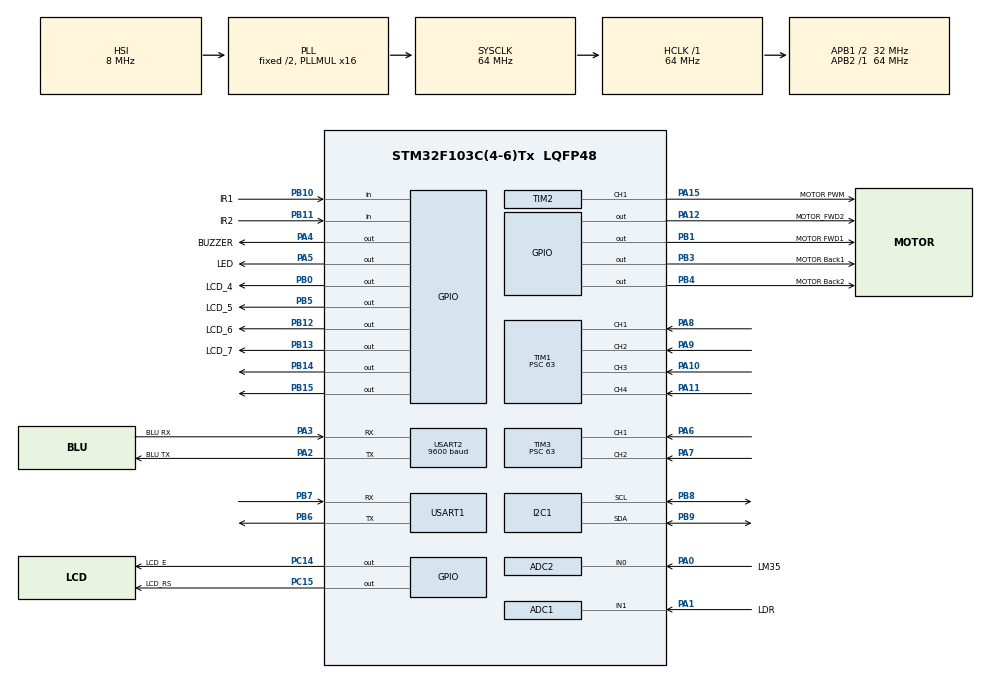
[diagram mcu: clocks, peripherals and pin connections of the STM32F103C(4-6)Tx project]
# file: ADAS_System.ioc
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ADC1.Channel-0\#ChannelRegularConversion=ADC_CHANNEL_1
ADC1.NbrOfConversionFlag=1
ADC1.Rank-0\#ChannelRegularConversion=1
ADC1.SamplingTime-0\#ChannelRegularConversion=ADC_SAMPLETIME_1CYCLE_5
ADC1.master=1
ADC2.Channel-0\#ChannelRegularConversion=ADC_CHANNEL_0
ADC2.NbrOfConversionFlag=1
ADC2.Rank-0\#ChannelRegularConversion=1
ADC2.SamplingTime-0\#ChannelRegularConversion=ADC_SAMPLETIME_1CYCLE_5
FREERTOS.Tasks01=defaultTask,0,128,StartDefaultTask,Default,NULL,Dynamic,NULL,NULL
I2C1.I2C_Mode=I2C_Fast
Mcu.Family=STM32F1
Mcu.Name=STM32F103C(4-6)Tx
Mcu.Package=LQFP48
NVIC.PriorityGroup=NVIC_PRIORITYGROUP_4
NVIC.TIM1_CC_IRQn=true\:5\:0\:false\:false\:true\:true\:true\:true\:true
NVIC.TIM3_IRQn=true\:5\:0\:false\:false\:true\:true\:true\:true\:true
NVIC.USART2_IRQn=true\:5\:0\:false\:false\:true\:true\:true\:true\:true
PA0-WKUP.GPIO_Label=LM35
PA0-WKUP.Signal=ADCx_IN0
PA1.GPIO_Label=LDR
PA1.Signal=ADCx_IN1
PA10.GPIO_PuPd=GPIO_PULLDOWN
PA10.Signal=S_TIM1_CH3
PA11.GPIO_PuPd=GPIO_PULLDOWN
PA11.Signal=S_TIM1_CH4
PA12.GPIO_Label=MOTOR_FWD2
PA12.Signal=GPIO_Output
PA13.Mode=Serial_Wire
PA13.Signal=SYS_JTMS-SWDIO
PA14.Mode=Serial_Wire
PA14.Signal=SYS_JTCK-SWCLK
PA15.GPIO_Label=MOTOR PWM
PA15.Signal=S_TIM2_CH1_ETR
PA2.GPIO_Label=BLU TX
PA2.Mode=Asynchronous
PA2.Signal=USART2_TX
PA3.GPIO_Label=BLU RX
PA3.Mode=Asynchronous
PA3.Signal=USART2_RX
PA4.GPIO_Label=BUZZER
PA4.Signal=GPIO_Output
PA5.GPIO_Label=LED
PA5.Signal=GPIO_Output
PA6.GPIO_PuPd=GPIO_PULLDOWN
PA6.Signal=S_TIM3_CH1
PA7.GPIO_PuPd=GPIO_PULLDOWN
PA7.Signal=S_TIM3_CH2
PA8.GPIO_PuPd=GPIO_PULLDOWN
PA8.Signal=S_TIM1_CH1
PA9.GPIO_PuPd=GPIO_PULLDOWN
PA9.Signal=S_TIM1_CH2
PB0.GPIO_Label=LCD_4
PB0.Signal=GPIO_Output
PB1.GPIO_Label=MOTOR FWD1
PB1.Signal=GPIO_Output
PB10.GPIO_Label=IR1
PB10.GPIO_PuPd=GPIO_PULLDOWN
PB10.Signal=GPIO_Input
PB11.GPIO_Label=IR2
PB11.GPIO_PuPd=GPIO_PULLDOWN
PB11.Signal=GPIO_Input
PB12.GPIO_Label=LCD_6
PB12.Signal=GPIO_Output
PB13.GPIO_Label=LCD_7
PB13.Signal=GPIO_Output
PB14.GPIO_PuPd=GPIO_PULLDOWN
PB14.Signal=GPIO_Output
PB15.GPIO_PuPd=GPIO_PULLDOWN
PB15.Signal=GPIO_Output
PB3.GPIO_Label=MOTOR Back1
PB3.Signal=GPIO_Output
PB4.GPIO_Label=MOTOR Back2
PB4.Signal=GPIO_Output
PB5.GPIO_Label=LCD_5
PB5.Signal=GPIO_Output
PB6.Mode=Asynchronous
PB6.Signal=USART1_TX
PB7.Mode=Asynchronous
PB7.Signal=USART1_RX
PB8.Mode=I2C
PB8.Signal=I2C1_SCL
PB9.Mode=I2C
PB9.Signal=I2C1_SDA
PC14-OSC32_IN.GPIO_Label=LCD_E
PC14-OSC32_IN.Signal=GPIO_Output
PC15-OSC32_OUT.GPIO_Label=LCD_RS
PC15-OSC32_OUT.Signal=GPIO_Output
PD0-OSC_IN.Mode=HSE-External-Clock-Source
PD0-OSC_IN.Signal=RCC_OSC_IN
PD1-OSC_OUT.Mode=HSE-External-Clock-Source
PD1-OSC_OUT.Signal=RCC_OSC_OUT
ProjectManager.HeapSize=0x200
ProjectManager.StackSize=0x400
ProjectManager.TargetToolchain=STM32CubeIDE
RCC.ADCPresc=RCC_ADCPCLK2_DIV6
RCC.AHBFreq_Value=64000000
RCC.APB1CLKDivider=RCC_HCLK_DIV2
RCC.APB1Freq_Value=32000000
RCC.APB1TimFreq_Value=64000000
RCC.APB2Freq_Value=64000000
RCC.APB2TimFreq_Value=64000000
RCC.HCLKFreq_Value=64000000
RCC.PLLMUL=RCC_PLL_MUL16
RCC.SYSCLKFreq_VALUE=64000000
RCC.SYSCLKSource=RCC_SYSCLKSOURCE_PLLCLK
RCC.USBFreq_Value=64000000
SH.ADCx_IN0.0=ADC2_IN0,IN0
SH.ADCx_IN1.0=ADC1_IN1,IN1
SH.S_TIM1_CH1.0=TIM1_CH1,Input_Capture1_from_TI1
SH.S_TIM1_CH2.0=TIM1_CH2,Input_Capture2_from_TI2
SH.S_TIM1_CH3.0=TIM1_CH3,Input_Capture3_from_TI3
SH.S_TIM1_CH4.0=TIM1_CH4,Input_Capture4_from_TI4
SH.S_TIM2_CH1_ETR.0=TIM2_CH1,PWM Generation1 CH1
SH.S_TIM3_CH1.0=TIM3_CH1,Input_Capture1_from_TI1
SH.S_TIM3_CH2.0=TIM3_CH2,Input_Capture2_from_TI2
TIM1.Channel-Input_Capture1_from_TI1=TIM_CHANNEL_1
TIM1.Channel-Input_Capture2_from_TI2=TIM_CHANNEL_2
TIM1.Channel-Input_Capture3_from_TI3=TIM_CHANNEL_3
TIM1.Channel-Input_Capture4_from_TI4=TIM_CHANNEL_4
TIM1.Prescaler=63
TIM2.Channel-PWM\ Generation1\ CH1=TIM_CHANNEL_1
TIM2.Period=100
TIM2.Prescaler=64
TIM3.Channel-Input_Capture1_from_TI1=TIM_CHANNEL_1
TIM3.Channel-Input_Capture2_from_TI2=TIM_CHANNEL_2
TIM3.Prescaler=63
USART1.VirtualMode=VM_ASYNC
USART2.BaudRate=9600
USART2.VirtualMode=VM_ASYNC
VP_FREERTOS_VS_CMSIS_V1.Mode=CMSIS_V1
VP_TIM1_VS_ClockSourceINT.Mode=Internal
VP_TIM2_VS_ClockSourceINT.Mode=Internal
VP_TIM3_VS_ClockSourceINT.Mode=Internal
board=custom

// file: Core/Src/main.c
/* USER CODE BEGIN Header */
/**
 ******************************************************************************
 * @file           : main.c
 * @brief          : Main program body
 ******************************************************************************
 * @attention
 *
 * Copyright (c) 2024 STMicroelectronics.
 * All rights reserved.
 *
 * This software is licensed under terms that can be found in the LICENSE file
 * in the root directory of this software component.
 * If no LICENSE file comes with this software, it is provided AS-IS.
 *
 ******************************************************************************
 */
/* USER CODE END Header */
#include "main.h"
#include "cmsis_os.h"
#include "adc.h"
#include "i2c.h"
#include "tim.h"
#include "usart.h"
#include "gpio.h"
#include <string.h>
/* USER CODE BEGIN Includes */
#include "BLU.h"
#include "DC_Motor.h"
#include "UltraSonic_interface_.h"
#include "BUZZER_interface.h"
#include "LM35.h"
#include "LDR.h"
#include "LED_interface.h"
#include "Line_Detector.h"
#include "mpu6050.h"
#include "LCD_interface.h"

/* USER CODE END Includes */

/* USER CODE BEGIN PD */
#define MOTOR_MAX_SPEED 100
#define MOTOR_MIN_SPEED 0
#define ENGINE_ON       1
#define ENGINE_OFF      0
#define MOTOR_FWD		0
#define MOTOR_BACK		1
#define MANUAL_CONTROL	0
#define AUTO_CONTROL	1

typedef struct
{
	float Distance_left_front;
	float Distance_front;
	float Distance_right_front;
	float Distance_left_back;
	float Distance_right_back;
	float Distance_back;
	float temprature;
	uint16_t LDR_Read;
	uint8_t IR_Left;
	uint8_t IR_Right;
	MPU6050_t Mpu6050;
}SensorsData_t;

SensorsData_t DataAcquistion;
/* USER CODE END PD */

void SystemClock_Config(void);
void MX_FREERTOS_Init(void);

/* USER CODE BEGIN 0 */
void BLE_Read_Task    			(void  * argument);
void Data_Acq_Task				(void  * argument);
void Action_Task      			(void  * argument);
void Display_Task     			(void  * argument);
//void Emergency_Task				(void  * argument);
void Autonomous_Task			(void  * argument);
void Auto_Motion_Task			(void  * argument);

EventGroupHandle_t EG_Action = NULL;
EventBits_t        EG_Value  = 0;

EventGroupHandle_t EG_Autonomous = NULL;
EventBits_t        EG_State  = 0;

#define EG_ENGINE_START    	(1<<0)
#define EG_ENGINE_STOP     	(1<<1)
#define EG_SPEED_UP        	(1<<2)
#define EG_SPEED_DOWN      	(1<<3)
#define EG_CAR_FWD			(1<<4)
#define EG_CAR_BACK			(1<<5)
#define EG_CAR_RIGHT		(1<<6)
#define EG_CAR_LEFT			(1<<7)

#define EG_STATE_Manual		(1<<0)
#define EG_STATE_ACC		(1<<1)
#define EG_STATE_AP			(1<<2)
#define EG_STATE_OBD		(1<<3)
#define EG_STATE_LKA		(1<<4)

volatile uint8_t Duty = 0;
volatile uint8_t ACC_State = 0;
volatile uint8_t ACC_Enabled = 0;
volatile uint8_t User_Control = 0;
volatile uint8_t Engine_State = 0;
volatile uint8_t Car_State = 0;
volatile uint8_t Car_Direction = 0;
uint8_t Counter = 0;
volatile uint8_t u8DutyFlag = 0;
volatile uint8_t u8LCDFlagInit = 0;
uint8_t u8CLRState = 0;
volatile uint8_t AP_State = 0;
volatile uint8_t OBD_State = 0;
volatile uint8_t LKA_State = 0;
volatile uint8_t Autoparking_VehicleSpeed = 20;
/* USER CODE END 0 */

int main(void)
{

  /* MCU Configuration--------------------------------------------------------*/

  /* Reset of all peripherals, Initializes the Flash interface and the Systick. */
  HAL_Init();

  /* Configure the system clock */
  SystemClock_Config();

  /* Initialize all configured peripherals */
  MX_GPIO_Init();
  MX_ADC1_Init();
  MX_I2C1_Init();
  MX_TIM1_Init();
  MX_TIM2_Init();
  MX_TIM3_Init();
  MX_USART2_UART_Init();
  MX_ADC2_Init();
  MX_USART1_UART_Init();
  /* USER CODE BEGIN 2 */
  EG_Action = xEventGroupCreate();
  EG_Autonomous = xEventGroupCreate();

  xTaskCreate(BLE_Read_Task, NULL, 100 , NULL , 1 , NULL);
  xTaskCreate(Autonomous_Task, NULL, 50 , NULL , 4 , NULL);
  xTaskCreate(Auto_Motion_Task, NULL, 50, NULL, 5, NULL);
  xTaskCreate(Action_Task, NULL, 100 , NULL , 3 , NULL);
  xTaskCreate(Display_Task, NULL, 50 , NULL , 2 , NULL);
  xTaskCreate(Data_Acq_Task, NULL, 100 , NULL , 6 , NULL);
  //xTaskCreate(Emergency_Task, NULL, 100 , NULL , 6 , NULL);

  while (MPU6050_Init(&hi2c1) == 1);
  DC_voidInit();
  UltraSonic_INIT_TIMER1_ALL_CHANNEL();
  UltraSonic_INIT_TIMER3_Ch1_ch2();
  /* USER CODE END 2 */

  /* Call init function for freertos objects (in freertos.c) */
  MX_FREERTOS_Init();

  /* Start scheduler */
  osKernelStart();

  /* We should never get here as control is now taken by the scheduler */
  /* Infinite loop */
	while (1)
	{

	}
}

void SystemClock_Config(void)
{
  RCC_OscInitTypeDef RCC_OscInitStruct = {0};
  RCC_ClkInitTypeDef RCC_ClkInitStruct = {0};
  RCC_PeriphCLKInitTypeDef PeriphClkInit = {0};

  /** Initializes the RCC Oscillators according to the specified parameters
  * in the RCC_OscInitTypeDef structure.
  */
  RCC_OscInitStruct.OscillatorType = RCC_OSCILLATORTYPE_HSI;
  RCC_OscInitStruct.HSIState = RCC_HSI_ON;
  RCC_OscInitStruct.HSICalibrationValue = RCC_HSICALIBRATION_DEFAULT;
  RCC_OscInitStruct.PLL.PLLState = RCC_PLL_ON;
  RCC_OscInitStruct.PLL.PLLSource = RCC_PLLSOURCE_HSI_DIV2;
  RCC_OscInitStruct.PLL.PLLMUL = RCC_PLL_MUL16;
  if (HAL_RCC_OscConfig(&RCC_OscInitStruct) != HAL_OK)
  {
    Error_Handler();
  }

  /** Initializes the CPU, AHB and APB buses clocks
  */
  RCC_ClkInitStruct.ClockType = RCC_CLOCKTYPE_HCLK|RCC_CLOCKTYPE_SYSCLK
                              |RCC_CLOCKTYPE_PCLK1|RCC_CLOCKTYPE_PCLK2;
  RCC_ClkInitStruct.SYSCLKSource = RCC_SYSCLKSOURCE_PLLCLK;
  RCC_ClkInitStruct.AHBCLKDivider = RCC_SYSCLK_DIV1;
  RCC_ClkInitStruct.APB1CLKDivider = RCC_HCLK_DIV2;
  RCC_ClkInitStruct.APB2CLKDivider = RCC_HCLK_DIV1;

  if (HAL_RCC_ClockConfig(&RCC_ClkInitStruct, FLASH_LATENCY_2) != HAL_OK)
  {
    Error_Handler();
  }
  PeriphClkInit.PeriphClockSelection = RCC_PERIPHCLK_ADC;
  PeriphClkInit.AdcClockSelection = RCC_ADCPCLK2_DIV6;
  if (HAL_RCCEx_PeriphCLKConfig(&PeriphClkInit) != HAL_OK)
  {
    Error_Handler();
  }
}

/* USER CODE BEGIN 4 */
void Data_Acq_Task		(void  * argument)
{
	while(1)
	{
		// Read temperature from LM35 sensor
		DataAcquistion.temprature = LM35_fReadTemperature();

		// Read light intensity from LDR sensor
		DataAcquistion.LDR_Read = HAL_u8LDRRead();

		// Read IR sensor values for left and right directions
		LineDetector_voidRead(&(DataAcquistion.IR_Left), &(DataAcquistion.IR_Right));

		// Read distances from ultrasonic sensors
		UltraSonic_Get_Distance_TIMER1_ALL_CHANNEL(&(DataAcquistion.Distance_left_back), &(DataAcquistion.Distance_right_back), &(DataAcquistion.Distance_left_front), &(DataAcquistion.Distance_right_front));
		vTaskDelay(200);
		UltraSonic_Get_Distance_TIMER3_Ch1_ch2(&(DataAcquistion.Distance_back), &(DataAcquistion.Distance_front));

		MPU6050_Read_All(&hi2c1, &(DataAcquistion.Mpu6050));

		vTaskDelay(200);
	}
}

void Auto_Motion_Task			(void  * argument)
{
	while(1)
	{
		// blind spot
		if(DataAcquistion.Distance_left_back <= 5 || DataAcquistion.Distance_right_back <= 5)
		{
			LED_voidTurnOn(LED_Pin);
			BUZZER_voidTurnOn();
		}
		else
		{
			LED_voidTurnOff(LED_Pin);
			BUZZER_voidTurnOff();
		}

		//ACC
		if (ACC_State)
		{
			if(DataAcquistion.Distance_front <= 15.0 && DataAcquistion.Distance_front > 8.0)
			{
				Duty = 50;
				LED_voidToggle(LED_Pin);
				BUZZER_voidToggle();
				//DC_voidMoveForward(Duty);
			}
			else if(DataAcquistion.Distance_front <= 8.0)
			{
				Duty = MOTOR_MIN_SPEED;
				DC_voidStop();
				LED_voidToggle(LED_Pin);
				BUZZER_voidToggle();
				//DC_voidMoveForward(Duty);
			}
			else
			{
				Duty=65;
				if (Duty > MOTOR_MAX_SPEED)
				{
					Duty = MOTOR_MAX_SPEED;
				}
			}
			DC_voidMoveForward(Duty);
		}

		//Obstacle Avoiding
		if(OBD_State)
		{
			if (DataAcquistion.Distance_front <= 15)
			{
				if (DataAcquistion.Distance_right_front > DataAcquistion.Distance_left_front && DataAcquistion.Distance_right_front > 30)
				{
					DC_voidMoveForwardRight (Duty);
					Car_Direction = 1;
				}
				else if (DataAcquistion.Distance_right_front < DataAcquistion.Distance_left_front && DataAcquistion.Distance_left_front > 30)
				{
					DC_voidMoveForwardLeft (Duty);
					Car_Direction = 2;
				}
				else
				{
					DC_voidMoveBackward(Duty);
					Car_State = MOTOR_BACK;
				}
			}
		}

		if(LKA_State)
		{
			if(!DataAcquistion.IR_Left)
			{
				DC_voidMoveForwardRight(Duty);
				Car_Direction = 1;
			}
			if(!DataAcquistion.IR_Right)
			{
				DC_voidMoveForwardLeft(Duty);
				Car_Direction = 2;
			}
			DC_voidMoveForward(Duty);
		}

		/*if(AP_State)
		{
			const float MIN_PARKING_DISTANCE = 10.0f; // Minimum distance required for parking in cm
			const float MIN_DISTANCE = 5.0f; // Minimum distance for stopping in cm

			// Check if parking is possible on the left side based on the distance from the left-front sensor
			if (DataAcquistion.Distance_left_front < MIN_PARKING_DISTANCE)
			{
				// If parking is possible on the left side, execute parking maneuvers
				// The parking maneuver involves moving the vehicle forward, backward, and turning as needed
				while (DataAcquistion.Distance_left_front < 15 || DataAcquistion.Distance_left_back < 15)
				{
					DC_voidMoveForward (Autoparking_VehicleSpeed);
				}

				DC_voidStop();
				// Move forward until reaching a suitable parking spot
				while (DataAcquistion.Distance_left_front > 15 || DataAcquistion.Distance_left_back > 15)
				{
					DC_voidMoveForward (Autoparking_VehicleSpeed);
				}
				DC_voidStop();
				// Perform backward parking maneuver until the vehicle is in position
				while (DataAcquistion.Distance_left_back >MIN_DISTANCE || DataAcquistion.Distance_back > MIN_DISTANCE)
				{
					DC_voidMoveBackwardLeft(Autoparking_VehicleSpeed);
				}
				DC_voidStop();
				// Adjust the vehicle's position by moving forward and backward as needed
				while (DataAcquistion.Distance_left_front > MIN_DISTANCE|| DataAcquistion.Distance_front > MIN_DISTANCE)
				{
					DC_voidMoveForwardRight(Autoparking_VehicleSpeed);
				}
				DC_voidStop();
				while (DataAcquistion.Distance_left_back > MIN_DISTANCE || DataAcquistion.Distance_back >MIN_DISTANCE)
				{
					DC_voidMoveBackwardRight(Autoparking_VehicleSpeed);
				}
				DC_voidStop();
				// Move forward to finalize parking
				while (DataAcquistion.Distance_front > MIN_DISTANCE)
				{
					DC_voidMoveForward (Autoparking_VehicleSpeed);
				}
				DC_voidStop();
			}
			// Check if parking is possible on the right side based on the distance from the right-front sensor
			else if (DataAcquistion.Distance_right_front < MIN_PARKING_DISTANCE)
			{
				// If parking is possible on the right side, execute parking maneuvers
				// The parking maneuver involves moving the vehicle forward, backward, and turning as needed
				// (Similar to the left-side parking maneuver)
				//Continuously check sensor readings while attempting to find a parking spot
				while(DataAcquistion.Distance_right_front<15 && DataAcquistion.Distance_right_back<15)
				{
					DC_voidMoveForward (Autoparking_VehicleSpeed);
				}
				// Move forward until reaching a suitable parking spot
				DC_voidStop();
				while(DataAcquistion.Distance_right_front>15 || DataAcquistion.Distance_right_back>15)
				{
					DC_voidMoveForward (Autoparking_VehicleSpeed);
				}
				DC_voidStop();

				// Perform backward parking maneuver until the vehicle is in position
				while(DataAcquistion.Distance_right_back > MIN_DISTANCE || DataAcquistion.Distance_back > MIN_DISTANCE)
				{
					DC_voidMoveBackwardRight(Autoparking_VehicleSpeed);
				}
				DC_voidStop();

				// Adjust the vehicle's position by moving forward and backward as needed
				while(DataAcquistion.Distance_right_front > MIN_DISTANCE || DataAcquistion.Distance_front > MIN_DISTANCE)
				{
					DC_voidMoveForwardRight(Autoparking_VehicleSpeed);
				}
				DC_voidStop();

				while(DataAcquistion.Distance_right_back > MIN_DISTANCE || DataAcquistion.Distance_back > MIN_DISTANCE  )
				{
					DC_voidMoveBackwardLeft(Autoparking_VehicleSpeed);
				}
				DC_voidStop();
				// Move forward to finalize parking
				while(DataAcquistion.Distance_right_front > MIN_DISTANCE|| DataAcquistion.Distance_front > MIN_DISTANCE)
				{
					DC_voidMoveForward (Autoparking_VehicleSpeed);
				}
				DC_voidStop();
			}
			else
			{
				// If no parking spots are available on either side, handle error or take appropriate action
			}
		}*/
		vTaskDelay(200);
	}
}

void Display_Task     (void  * argument)
{
	while(1)
	{
		if(Engine_State == 1)
		{
			if(u8LCDFlagInit == 0)
			{
				LCD_voidInit();
				u8LCDFlagInit = 1;
			}
			// Display ( Duty & ACC & AutoParkingState On LCD)
			LCD_voidSetCursor(0, 0);
			LCD_voidWriteString((uint8_t*)"Speed:");
			if(Duty == 0)
			{
				if(u8DutyFlag == 1)
				{
					LCD_voidSetCursor(0, 8);
					LCD_voidWriteString((uint8_t*)"  ");
				}
				LCD_voidSetCursor(0, 6);
				LCD_voidWriteNum(Duty);
				LCD_voidWriteString((uint8_t*)"%");
				u8DutyFlag = 0;
			}
			else if(Duty < 100 && Duty > 0)
			{
				if(u8DutyFlag == 2)
				{
					LCD_voidSetCursor(0, 9);
					LCD_voidWriteString((uint8_t*)" ");
				}
				LCD_voidSetCursor(0, 6);
				LCD_voidWriteNum(Duty);
				LCD_voidWriteString((uint8_t*)"%");
				u8DutyFlag = 1;
			}
			else
			{
				LCD_voidWriteNum(Duty);
				LCD_voidWriteString((uint8_t*)"%");
				u8DutyFlag = 2;
			}
			LCD_voidSetCursor(1, 9);
			LCD_voidWriteString((uint8_t*)"ACC:");
			if(ACC_State == 1)
			{
				LCD_voidWriteString((uint8_t*)" ON");
			}
			else
			{
				LCD_voidWriteString((uint8_t*)"OFF");
			}
			LCD_voidSetCursor(0, 10);
			LCD_voidWriteString((uint8_t*)"AP:");
			if(AP_State == 1)
			{
				LCD_voidWriteString((uint8_t*)" ON");
			}
			else
			{
				LCD_voidWriteString((uint8_t*)"OFF");
			}
			LCD_voidSetCursor(1, 0);
			LCD_voidWriteString((uint8_t*)"OBD:");
			if(OBD_State == 1)
			{
				LCD_voidWriteString((uint8_t*)" ON");
			}
			else
			{
				LCD_voidWriteString((uint8_t*)"OFF");
			}

		}
		vTaskDelay(200);
	}
}

void BLE_Read_Task    (void  * argument)
{
	HAL_StatusTypeDef RetValue = HAL_ERROR;
	uint8_t BLE_Rer=0;
	while(1)
	{
		RetValue =  BLU_voidReceivePolling  (&BLE_Rer, sizeof(BLE_Rer), 100);
		if(RetValue == HAL_OK)
		{
			switch(BLE_Rer)
			{
			case 'U' :
				xEventGroupSetBits(EG_Action,EG_SPEED_UP);
				break;
			case 'D' :
				xEventGroupSetBits(EG_Action,EG_SPEED_DOWN);
				break;
			case 'S' :
				xEventGroupSetBits(EG_Action,EG_ENGINE_START);
				break;
			case 'E' :
				xEventGroupSetBits(EG_Action,EG_ENGINE_STOP);
				break;
			case 'F' :
				xEventGroupSetBits(EG_Action, EG_CAR_FWD);
				break;
			case 'B' :
				xEventGroupSetBits(EG_Action,EG_CAR_BACK);
				break;
			case 'R' :
				xEventGroupSetBits(EG_Action,EG_CAR_RIGHT);
				break;
			case 'L' :
				xEventGroupSetBits(EG_Action,EG_CAR_LEFT);
				break;
			case 'M' :
				xEventGroupSetBits(EG_Autonomous,EG_STATE_Manual);
				break;
			case 'P' :
				//Auto Parking
				xEventGroupSetBits(EG_Autonomous,EG_STATE_AP);
				break;
			case 'A' :
				//ACC
				xEventGroupSetBits(EG_Autonomous,EG_STATE_ACC);
				//ACC_State = 1;
				break;
			case 'O' :
				//obstacle avoidance
				xEventGroupSetBits(EG_Autonomous,EG_STATE_OBD);
				break;
			case 'I' :
				//LKA
				xEventGroupSetBits(EG_Autonomous,EG_STATE_LKA);
			default:
				break;
			}
		}
		else
		{

		}
		vTaskDelay(200);
	}
}

void Action_Task      (void  * argument)
{
	while(1)
	{
		EG_Value = xEventGroupWaitBits(EG_Action,
				(EG_ENGINE_START | EG_ENGINE_STOP | EG_SPEED_UP | EG_SPEED_DOWN | EG_CAR_FWD | EG_CAR_BACK | EG_CAR_RIGHT | EG_CAR_LEFT) ,
				1, // Auto Clear
				0, // Or Between bits not wait for all of the events
				portMAX_DELAY);

		if(EG_Value & EG_ENGINE_START)
		{
			// Start Motor with Duty 20%
			Duty = 20;
			DC_voidInit();
			DC_voidMoveForward(Duty);
			Engine_State = ENGINE_ON;
		}
		if(EG_Value & EG_ENGINE_STOP)
		{
			// Stop Motor Duty 0%
			Duty =0;
			DC_voidStop();
			Engine_State = ENGINE_OFF;
		}
		if(EG_Value & EG_CAR_FWD)
		{
			DC_voidMoveForward(Duty);
			Car_State = MOTOR_FWD;
		}
		if(EG_Value & EG_CAR_BACK)
		{
			DC_voidMoveBackward(Duty);
			Car_State = MOTOR_BACK;
			DC_voidTurnLeft();
			//vTaskDelay(30);
		}
		if(EG_Value & EG_CAR_RIGHT)
		{
			DC_voidTurnRight();
			vTaskDelay(100);
			Car_Direction = 1;
		}
		if(EG_Value & EG_CAR_LEFT)
		{
			DC_voidTurnLeft();
			Car_Direction = 2;
		}
		if(EG_Value & EG_SPEED_UP)
		{
			if(ENGINE_ON == Engine_State  && Car_State == MOTOR_FWD)
			{
				Duty+=10;
				if(MOTOR_MAX_SPEED < Duty)
				{
					Duty=MOTOR_MAX_SPEED;
					DC_voidMoveForward(Duty);
				}
				else
				{
					DC_voidMoveForward(Duty);
				}
			}
			else if(ENGINE_ON == Engine_State && Car_State == MOTOR_BACK)
			{
				Duty+=10;
				if(MOTOR_MAX_SPEED < Duty)
				{
					Duty=MOTOR_MAX_SPEED;
					DC_voidMoveBackward(Duty);
				}
				else
				{
					DC_voidMoveBackward(Duty);
				}
			}
		}
		if(EG_Value & EG_SPEED_DOWN)
		{
			if(ENGINE_ON == Engine_State  && Car_State == MOTOR_FWD)
			{
				Duty-=10;
				if(MOTOR_MIN_SPEED > Duty)
				{
					Duty=MOTOR_MAX_SPEED;
					DC_voidMoveForward(Duty);
				}
				else
				{
					DC_voidMoveForward(Duty);
				}
			}
			else if(ENGINE_ON == Engine_State && Car_State == MOTOR_BACK)
			{
				Duty-=10;
				if(MOTOR_MIN_SPEED > Duty)
				{
					Duty=MOTOR_MAX_SPEED;
					DC_voidMoveBackward(Duty);
				}
				else
				{
					DC_voidMoveBackward(Duty);
				}
			}
		}

		vTaskDelay(200);
	}
}

void Autonomous_Task			(void  * argument)
{
	while(1)
	{
		EG_State = xEventGroupWaitBits(EG_Autonomous,
				(EG_STATE_Manual | EG_STATE_ACC | EG_STATE_AP | EG_STATE_OBD | EG_STATE_LKA) ,
				1, // Auto Clear
				0, // Or Between bits not wait for all of the events
				portMAX_DELAY);
		if(EG_State & EG_STATE_Manual)
		{
			User_Control = MANUAL_CONTROL;
			ACC_State = 0;
			AP_State = 0;
			OBD_State = 0;
			LKA_State = 0;
		}
		if(EG_State & EG_STATE_ACC)
		{
			User_Control = AUTO_CONTROL;
			ACC_State = 1;
			AP_State = 0;
			OBD_State = 0;
			LKA_State = 0;
			//ACC
		}
		if(EG_State & EG_STATE_AP)
		{
			User_Control = AUTO_CONTROL;
			AP_State = 1;
			ACC_State = 0;
			LKA_State = 0;
			OBD_State = 0;
			//Autoparking
		}
		if(EG_State & EG_STATE_OBD)
		{
			User_Control = AUTO_CONTROL;
			OBD_State = 1;
			ACC_State = 0;
			AP_State = 0 ;
			LKA_State = 0;
			//Obsticale avoidance

		}
		if(EG_State & EG_STATE_LKA)
		{
			User_Control = AUTO_CONTROL;
			LKA_State = 1;
			ACC_State = 0;
			AP_State = 0 ;
			OBD_State = 0;
			//Lane Keep Assistance
		}

		vTaskDelay(200);
	}

}

/*
void Emergency_Task				(void  * argument)
{
	float differencex = 0 ;
	float differencey = 0 ;
	float differencez = 0 ;
	float inputx[2] = {0};
	float inputy[2] = {0};
	float inputz[2] = {0};

	static uint8_t i = 0 ;
	double ax=0;
	double ay=0;
	double az=0;
	//double total_a=0,ay=0,az=0;
	float critical_value = 0;

	while(1)
	{

		ax = DataAcquistion.Mpu6050.Ax;
		ay = DataAcquistion.Mpu6050.Ay;
		az = DataAcquistion.Mpu6050.Az;
		//total_a = ax*ax + ay*ay + az*az;
		inputx[i] = ax;
		inputy[i] = ay;
		inputz[i] = az;

		if(i==1){
			differencex = inputx[1]-inputx[0];
			differencey = inputy[1]-inputy[0];
			differencez = inputz[1]-inputz[0];
		}

		while(differencex> critical_value || differencey> critical_value || differencez> critical_value){
			LED_voidToggle(LED_Pin);
			BUZZER_voidToggle();
			vTaskDelay(100);
		}

		i++;
		if(i==1){
			i = 0 ;
			memset(inputx, 0, sizeof(inputx));
			memset(inputy, 0, sizeof(inputy));
			memset(inputz, 0, sizeof(inputz));
		}

	}
}
*/
/* USER CODE END 4 */

void Error_Handler(void)
{
	__disable_irq();
	while (1)
	{
	}
}
